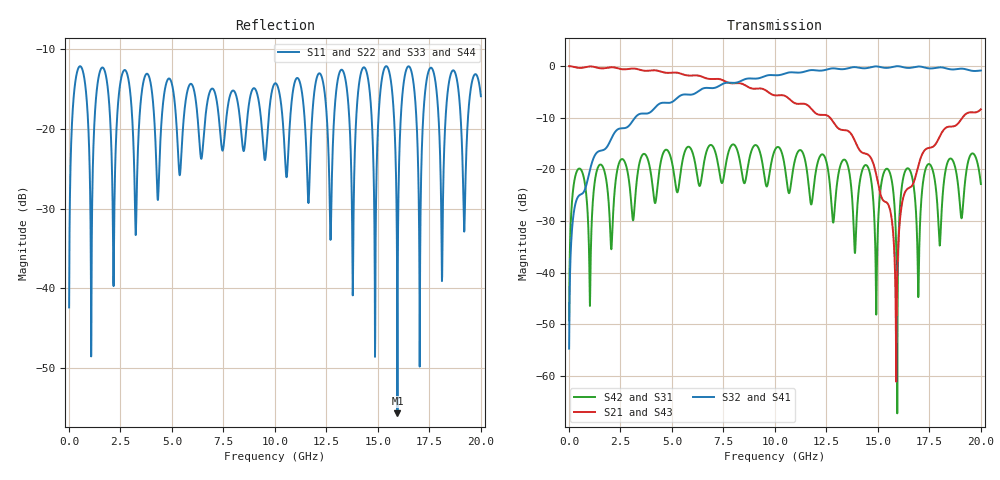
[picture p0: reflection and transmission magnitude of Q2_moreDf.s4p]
! Touchstone generated by fitter/viewer
# HZ S  RI R 5.000000e+001
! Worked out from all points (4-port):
!   2000 points, 10 MHz to 20 GHz, reference 50 ohm
!   strongest paths, dB at 10 MHz, 5.01 GHz, 10.01 GHz, 15.01 GHz, 20 GHz:
!     S32: -54.8, -6.9, -1.8, -0.1, -0.8
!     S41: -54.8, -6.9, -1.8, -0.1, -0.8
!     S21: 0.0, -1.3, -5.7, -22.7, -8.4
!     S43: 0.0, -1.3, -5.7, -22.7, -8.4
!     S42: -49.3, -18.8, -16.2, -30.4, -22.8
!     S31: -49.3, -18.8, -16.2, -30.4, -22.8
!   lowest |S11| = -55.7 dB at 15.95 GHz (marker M1), VSWR 1.00, Z = 50 + j0.164 ohm
!   |S11| at or under -10 dB: start of sweep to end of sweep
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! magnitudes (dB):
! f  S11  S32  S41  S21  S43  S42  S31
! 10 MHz  -42.4  -54.8  -54.8  0.0  0.0  -49.3  -49.3
! 440 MHz  -12.5  -25.3  -25.3  -0.3  -0.3  -20.0  -20.0
! 2.35 GHz  -18.1  -12.3  -12.3  -0.4  -0.4  -20.1  -20.1
! 12.6 GHz  -22.8  -0.6  -0.6  -9.7  -9.7  -20.6  -20.6
! 15.43 GHz  -12.1  -0.3  -0.3  -26.4  -26.4  -19.9  -19.9
! 15.95 GHz  -55.7  0.0  0.0  -38.9  -38.9  -50.4  -50.4
! 20 GHz  -15.9  -0.8  -0.8  -8.4  -8.4  -22.8  -22.8
